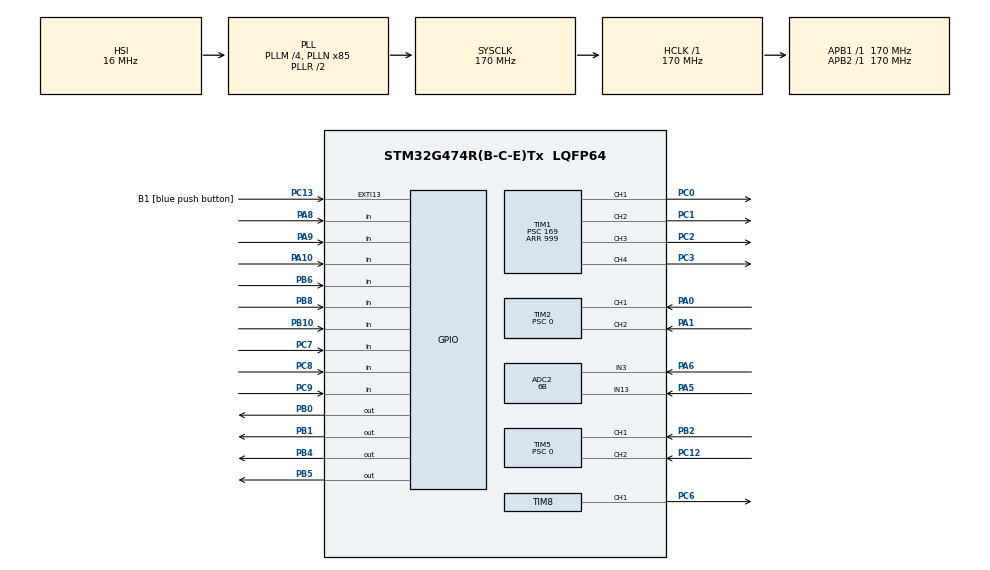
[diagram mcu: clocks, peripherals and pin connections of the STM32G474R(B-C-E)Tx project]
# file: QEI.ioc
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ADC2.Channel-0\#ChannelRegularConversion=ADC_CHANNEL_3
ADC2.Channel-1\#ChannelRegularConversion=ADC_CHANNEL_13
ADC2.ContinuousConvMode=ENABLE
ADC2.DMAContinuousRequests=ENABLE
ADC2.NbrOfConversion=2
ADC2.NbrOfConversionFlag=1
ADC2.OffsetNumber-0\#ChannelRegularConversion=ADC_OFFSET_NONE
ADC2.OffsetNumber-1\#ChannelRegularConversion=ADC_OFFSET_NONE
ADC2.Rank-0\#ChannelRegularConversion=1
ADC2.Rank-1\#ChannelRegularConversion=2
ADC2.Resolution=ADC_RESOLUTION_6B
ADC2.SamplingTime-0\#ChannelRegularConversion=ADC_SAMPLETIME_640CYCLES_5
ADC2.SamplingTime-1\#ChannelRegularConversion=ADC_SAMPLETIME_640CYCLES_5
ARM.CMSIS-DSP.1.15.0.CMSISJjDSP=Source
ARM.CMSIS.6.0.0.CMSISJjCORE=true
Dma.ADC2.0.Direction=DMA_PERIPH_TO_MEMORY
Dma.ADC2.0.EventEnable=DISABLE
Dma.ADC2.0.Instance=DMA1_Channel1
Dma.ADC2.0.MemDataAlignment=DMA_MDATAALIGN_WORD
Dma.ADC2.0.MemInc=DMA_MINC_ENABLE
Dma.ADC2.0.Mode=DMA_CIRCULAR
Dma.ADC2.0.PeriphDataAlignment=DMA_PDATAALIGN_WORD
Dma.ADC2.0.PeriphInc=DMA_PINC_DISABLE
Dma.ADC2.0.Polarity=HAL_DMAMUX_REQ_GEN_RISING
Dma.ADC2.0.Priority=DMA_PRIORITY_LOW
Dma.ADC2.0.RequestNumber=1
Dma.ADC2.0.SignalID=NONE
Dma.ADC2.0.SyncEnable=DISABLE
Dma.ADC2.0.SyncPolarity=HAL_DMAMUX_SYNC_NO_EVENT
Dma.ADC2.0.SyncRequestNumber=1
Dma.ADC2.0.SyncSignalID=NONE
Dma.Request0=ADC2
Mcu.Family=STM32G4
Mcu.Name=STM32G474R(B-C-E)Tx
Mcu.Package=LQFP64
NVIC.DMA1_Channel1_IRQn=true\:0\:0\:false\:false\:true\:false\:true\:true
NVIC.EXTI15_10_IRQn=true\:0\:0\:false\:false\:true\:true\:true\:true
NVIC.PriorityGroup=NVIC_PRIORITYGROUP_4
NVIC.TIM1_BRK_TIM15_IRQn=true\:0\:0\:false\:false\:true\:true\:true\:true
NVIC.TIM1_CC_IRQn=true\:0\:0\:false\:false\:true\:true\:true\:true
NVIC.TIM1_TRG_COM_TIM17_IRQn=true\:0\:0\:false\:false\:true\:true\:true\:true
NVIC.TIM1_UP_TIM16_IRQn=true\:0\:0\:false\:false\:true\:true\:true\:true
NVIC.TIM2_IRQn=true\:0\:0\:false\:false\:true\:true\:true\:true
NVIC.TIM3_IRQn=true\:0\:0\:false\:false\:true\:true\:true\:true
NVIC.TIM4_IRQn=true\:0\:0\:false\:false\:true\:true\:true\:true
NVIC.TIM5_IRQn=true\:0\:0\:false\:false\:true\:true\:true\:true
NVIC.TIM6_DAC_IRQn=true\:0\:0\:false\:false\:true\:true\:true\:true
PA0.Signal=S_TIM2_CH1
PA1.Signal=S_TIM2_CH2
PA10.GPIO_PuPd=GPIO_PULLUP
PA10.Signal=GPIO_Input
PA13.GPIO_Label=T_SWDIO
PA13.Signal=SYS_JTMS-SWDIO
PA14.GPIO_Label=T_SWCLK
PA14.Signal=SYS_JTCK-SWCLK
PA2.GPIO_Label=LPUART1_TX [STLINKV3E_VCP_RX]
PA2.Signal=LPUART1_TX
PA3.GPIO_Label=LPUART1_RX [STLINKV3E_VCP_TX]
PA3.Signal=LPUART1_RX
PA5.Mode=IN13-Single-Ended
PA5.Signal=ADC2_IN13
PA6.Mode=IN3-Single-Ended
PA6.Signal=ADC2_IN3
PA7.Signal=S_TIM3_CH2
PA8.GPIO_PuPd=GPIO_PULLUP
PA8.Signal=GPIO_Input
PA9.Signal=GPIO_Input
PB0.Signal=GPIO_Output
PB1.Signal=GPIO_Output
PB10.GPIO_PuPd=GPIO_PULLUP
PB10.Signal=GPIO_Input
PB2.Signal=S_TIM5_CH1
PB3.GPIO_Label=T_SWO
PB3.Signal=SYS_JTDO-SWO
PB4.Signal=GPIO_Output
PB5.Signal=GPIO_Output
PB6.Signal=GPIO_Input
PB8-BOOT0.GPIO_PuPd=GPIO_PULLUP
PB8-BOOT0.Signal=GPIO_Input
PC0.Signal=S_TIM1_CH1
PC1.Signal=S_TIM1_CH2
PC12.Signal=S_TIM5_CH2
PC13.GPIO_Label=B1 [blue push button]
PC13.Signal=GPXTI13
PC14-OSC32_IN.GPIO_Label=RCC_OSC32_IN
PC14-OSC32_IN.Signal=RCC_OSC32_IN
PC15-OSC32_OUT.GPIO_Label=RCC_OSC32_OUT
PC15-OSC32_OUT.Signal=RCC_OSC32_OUT
PC2.Signal=S_TIM1_CH3
PC3.Signal=S_TIM1_CH4
PC6.Signal=S_TIM8_CH1
PC7.Signal=GPIO_Input
PC8.GPIO_PuPd=GPIO_PULLUP
PC8.Signal=GPIO_Input
PC9.GPIO_PuPd=GPIO_PULLUP
PC9.Signal=GPIO_Input
PF0-OSC_IN.GPIO_Label=RCC_OSC_IN
PF0-OSC_IN.Signal=RCC_OSC_IN
PF1-OSC_OUT.GPIO_Label=RCC_OSC_OUT
PF1-OSC_OUT.Signal=RCC_OSC_OUT
ProjectManager.HeapSize=0x200
ProjectManager.StackSize=0x400
ProjectManager.TargetToolchain=STM32CubeIDE
RCC.ADC12Freq_Value=170000000
RCC.ADC345Freq_Value=170000000
RCC.AHBFreq_Value=170000000
RCC.APB1Freq_Value=170000000
RCC.APB1TimFreq_Value=170000000
RCC.APB2Freq_Value=170000000
RCC.APB2TimFreq_Value=170000000
RCC.CortexFreq_Value=170000000
RCC.EXTERNAL_CLOCK_VALUE=12288000
RCC.HCLKFreq_Value=170000000
RCC.HSE_VALUE=24000000
RCC.HSI48_VALUE=48000000
RCC.HSI_VALUE=16000000
RCC.LSE_VALUE=32768
RCC.PLLM=RCC_PLLM_DIV4
RCC.PLLN=85
RCC.RTCClockSelection=RCC_RTCCLKSOURCE_LSE
RCC.SYSCLKFreq_VALUE=170000000
RCC.SYSCLKSource=RCC_SYSCLKSOURCE_PLLCLK
RCC.USBFreq_Value=170000000
RCC.VCOOutputFreq_Value=340000000
SH.S_TIM1_CH1.0=TIM1_CH1,PWM Generation1 CH1
SH.S_TIM1_CH2.0=TIM1_CH2,PWM Generation2 CH2
SH.S_TIM1_CH3.0=TIM1_CH3,PWM Generation3 CH3
SH.S_TIM1_CH4.0=TIM1_CH4,PWM Generation4 CH4
SH.S_TIM2_CH1.0=TIM2_CH1,Encoder_Interface
SH.S_TIM2_CH2.0=TIM2_CH2,Encoder_Interface
SH.S_TIM3_CH2.0=TIM3_CH2
SH.S_TIM5_CH1.0=TIM5_CH1,Encoder_Interface
SH.S_TIM5_CH2.0=TIM5_CH2,Encoder_Interface
SH.S_TIM8_CH1.0=TIM8_CH1,PWM Generation1 CH1
TIM1.Channel-PWM\ Generation1\ CH1=TIM_CHANNEL_1
TIM1.Channel-PWM\ Generation2\ CH2=TIM_CHANNEL_2
TIM1.Channel-PWM\ Generation3\ CH3=TIM_CHANNEL_3
TIM1.Channel-PWM\ Generation4\ CH4=TIM_CHANNEL_4
TIM1.PeriodNoDither=999
TIM1.Prescaler=169
TIM2.EncoderMode=TIM_ENCODERMODE_TI12
TIM2.PeriodNoDither=4294967295
TIM2.Prescaler=0
TIM3.Prescaler=169
TIM4.PeriodNoDither=9999
TIM4.Prescaler=169
TIM4.TIM_MasterOutputTrigger=TIM_TRGO_UPDATE
TIM5.EncoderMode=TIM_ENCODERMODE_TI12
TIM5.PeriodNoDither=4294967295
TIM5.Prescaler=0
TIM6.PeriodNoDither=1999
TIM6.Prescaler=169
TIM8.Channel-PWM\ Generation1\ CH1=TIM_CHANNEL_1
TIM8.PeriodNoDither=19999
TIM8.Prescaler=169
TIM8.PulseNoDither_1=0
VP_ARM.CMSIS-DSP_VS_CMSISJjDSP_1.15.0_1.15.0.Mode=CMSISJjDSP
VP_ARM.CMSIS_VS_CMSISJjCORE_6.0.0_6.0.0.Mode=CMSISJjCORE
VP_SYS_VS_DBSignals.Mode=DisableDeadBatterySignals
VP_TIM1_VS_ClockSourceINT.Mode=Internal
VP_TIM3_VS_ClockSourceINT.Mode=Internal
VP_TIM4_VS_ClockSourceINT.Mode=Internal
VP_TIM6_VS_ClockSourceINT.Mode=Enable_Timer
VP_TIM8_VS_ClockSourceINT.Mode=Internal
board=NUCLEO-G474RE

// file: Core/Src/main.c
/* USER CODE BEGIN Header */
/**
 ******************************************************************************
 * @file           : main.c
 * @brief          : Main program body
 ******************************************************************************
 * @attention
 *
 * Copyright (c) 2025 STMicroelectronics.
 * All rights reserved.
 *
 * This software is licensed under terms that can be found in the LICENSE file
 * in the root directory of this software component.
 * If no LICENSE file comes with this software, it is provided AS-IS.
 *
 ******************************************************************************
 */
/* USER CODE END Header */
#include "main.h"
#include "adc.h"
#include "dma.h"
#include "tim.h"
#include "gpio.h"

/* USER CODE BEGIN Includes */
#include "arm_math.h"
#include "math.h"
#include "stdio.h"
#include "velocity_control.h"
#include "MotorDriver.h"
#include "Encoder.h"
#include "pid.h"
#include "TrajectoryGenerator.h"
#include "kalman_filter.h"
#include "kalman_prs.h"
#include "feedforward.h"
#include "waypoints.h"

#include "VelocityFormPID.h"

#include <stdbool.h>
#include <stdlib.h>
/* USER CODE END Includes */

/* USER CODE BEGIN PD */
#define EPSILON 0.0001
#define RAD2TICKS (8192.0f / (2.0f * M_PI))
#define PRISMATIC_RESET_BUTTON HAL_GPIO_ReadPin(GPIOC, GPIO_PIN_8)
#define REVOLUTE_RESET_BUTTON HAL_GPIO_ReadPin(GPIOA, GPIO_PIN_10)
#define JOY_MEM_JOG_BUTTON HAL_GPIO_ReadPin(GPIOA, GPIO_PIN_7)
#define JOY_RESET_BUTTON HAL_GPIO_ReadPin(GPIOB, GPIO_PIN_6)
#define JOY_RUN_JOG_BUTTON HAL_GPIO_ReadPin(GPIOC, GPIO_PIN_7)
#define JOY_ADD_VELO_BUTTON HAL_GPIO_ReadPin(GPIOA, GPIO_PIN_9)

#define EMERGENCY_BUTTON HAL_GPIO_ReadPin(GPIOA, GPIO_PIN_8)
//#define SERVO HAL_GPIO_WritePin(GPIOC, GPIO_PIN_6)

/* USER CODE END PD */

/* USER CODE BEGIN PV */

int EMERGENCY_STATE = 0;

int ok =0;

typedef struct{
	uint8_t reset;

	float prev_set_pos;
	float prev_set_velo;

	float set_pos;
	float set_velo;
	float prev_setpos;

	//control variable
	float Pwm;
	float Vin;

	float pos_error;
	float velo_error;

	float disturbance;
	VelocityFormPIDHandler pos_PID;
	VelocityFormPIDHandler velo_PID;

	MOTOR motor;
	ENCODER encoder;

}RevoluteControlTypeHandler;

typedef struct{
	uint8_t reset;
	uint8_t reset_param;

	float prev_set_pos;
	float prev_set_velo;
	float prev_set_dis;

	float set_pos;
	float set_velo;
	float set_dis;
	float prev_setpos;

	//control variable
	float Pwm;
	float Vin;

	float pos_error;
	float dis_error;
	float velo_error;

	float disturbance;
	VelocityFormPIDHandler pos_PID;
	VelocityFormPIDHandler velo_PID;

	MOTOR motor;
	ENCODER encoder;
}PrismaticControlTypeHandler;

RevoluteControlTypeHandler Revolute = {0};
PrismaticControlTypeHandler Prismatic = {0};

SERVO Servo = {0};
float Volt = 0.0;

int servo_command = 0;

int32_t joy_analog[2];
int check = 0;
int joy_mid_pris = 0;
int joy_mid_rev = 0;

int Emergency= 0 ;
int Reset_button = 0;

int green_light=0;
int red_light=0;

int servo_check1=1;
int servo_check2=1;

int servo_PWM;
int state = 0;

kalman k_rev;
kalman_prs k_pris;

float Rev_Dis;
float Pris_Dis;

float rev_pos_error = 0;
float rev_vel_error = 0;

int count = 0;

float test = 0;

float velocity = 0;
float setvelocity = 0;
float test_speed = 0;
float direction = 1;

uint8_t Pris_reset;

uint64_t _micros = 0;

Trajectory rev_traj = {0};
Trajectory pris_traj = {0};

uint8_t reset_stage = 0;
uint32_t reset_timer = 0;

uint32_t reset_done_time = 0;
uint8_t waiting_after_reset = 0;

float JOY_PRISMATIC[2] = {0.0, 0.0};
float JOY_REVOLUTE[2] = {0.0, 0.0};

// Array to store G-code commands
WAYPOINT gCode[MAX_WAYPOINT] = {
    {"G21", 0.0f, 0.0f, 0.0f, 0.0f},         // G21 - mm mode
    {"G0", 44.8466f, 148.7895f, 5.0f, 1000.0f}, // G0 - Lift pen, move to X44.8466 Y148.7895
    {"G0", 44.8466f, 148.7895f, 0.0f, 1000.0f}, // G0 - Activate Pen at Z0
    {"G1", 40.8713f, 148.7895f, 0.0f, 1000.0f}, // G1 - Drawing to X40.8713 Y148.7895
    {"G1", 40.3237f, 148.9217f, 0.0f, 1000.0f}, // G1 - Continue drawing
    {"G1", 39.9781f, 149.1881f, 0.0f, 1000.0f}, // G1
    {"G1", 39.7506f, 149.5604f, 0.0f, 1000.0f}, // G1
    {"G1", 39.6713f, 149.9895f, 0.0f, 1000.0f}, // G1
    {"G1", 39.6713f, 179.1677f, 0.0f, 1000.0f}, // G1
    {"G1", 39.8035f, 179.7153f, 0.0f, 1000.0f}, // G1
    {"G1", 40.0699f, 180.0609f, 0.0f, 1000.0f}, // G1
    {"G1", 40.4422f, 180.2884f, 0.0f, 1000.0f}, // G1
    {"G1", 40.8713f, 180.3677f, 0.0f, 1000.0f}, // G1
    {"G1", 56.4983f, 180.3677f, 0.0f, 1000.0f}, // G1
    {"G1", 56.9038f, 180.2971f, 0.0f, 1000.0f}, // G1
    {"G1", 57.2808f, 180.0775f, 0.0f, 1000.0f}, // G1
    {"G1", 57.5544f, 179.7375f, 0.0f, 1000.0f}, // G1
    {"G1", 57.6883f, 179.3222f, 0.0f, 1000.0f}, // G1
    {"G1", 58.0799f, 176.3065f, 0.0f, 1000.0f}, // G1
    {"G1", 58.0829f, 176.0225f, 0.0f, 1000.0f}, // G1
    {"G1", 57.9577f, 175.6044f, 0.0f, 1000.0f}, // G1
    {"G1", 57.6913f, 175.2588f, 0.0f, 1000.0f}, // G1
    {"G1", 57.3190f, 175.0313f, 0.0f, 1000.0f}, // G1
    {"G1", 56.8899f, 174.9520f, 0.0f, 1000.0f}, // G1
    {"G1", 46.0466f, 174.9520f, 0.0f, 1000.0f}, // G1
    {"G1", 46.0466f, 167.8348f, 0.0f, 1000.0f}, // G1
    {"G1", 55.1079f, 167.8348f, 0.0f, 1000.0f}, // G1
    {"G1", 55.6555f, 167.7026f, 0.0f, 1000.0f}, // G1
    {"G1", 56.0011f, 167.4362f, 0.0f, 1000.0f}, // G1
    {"G1", 56.2286f, 167.0639f, 0.0f, 1000.0f}, // G1
    {"G1", 56.3079f, 166.6348f, 0.0f, 1000.0f}, // G1
    {"G1", 56.3079f, 163.4624f, 0.0f, 1000.0f}, // G1
    {"G1", 56.1757f, 162.9148f, 0.0f, 1000.0f}, // G1
    {"G1", 55.9093f, 162.5692f, 0.0f, 1000.0f}, // G1
    {"G1", 55.5370f, 162.3417f, 0.0f, 1000.0f}, // G1
    {"G1", 55.1079f, 162.2624f, 0.0f, 1000.0f}, // G1
    {"G1", 46.0466f, 162.2624f, 0.0f, 1000.0f}, // G1
    {"G1", 46.0466f, 149.9895f, 0.0f, 1000.0f}, // G1
    {"G1", 45.9144f, 149.4419f, 0.0f, 1000.0f}, // G1
    {"G1", 45.6480f, 149.0963f, 0.0f, 1000.0f}, // G1
    {"G1", 45.2757f, 148.8688f, 0.0f, 1000.0f}, // G1
    {"G1", 44.8466f, 148.7895f, 0.0f, 1000.0f}, // G1
    {"G0", 0.0f, 0.0f, 5.0f, 0.0f}             // G0 - Lift pen to z-safe
};
int num_points = 38;
int count_now = 1;
int count_prev = 0;
int draw_command = 0;

//typedef enum {
//	DRAW_DONE, DRAWING
//}DRAW_STATE;
int DRAW_STATE = 0;

/* USER CODE END PV */

void SystemClock_Config(void);
/* USER CODE BEGIN PFP */
void reset_prismatic();
void reset_revolute();
void reset_pris();
void reset_rev();
void calculateWaypoints();
/* USER CODE END PFP */

int main(void)
{

  /* MCU Configuration--------------------------------------------------------*/

  /* Reset of all peripherals, Initializes the Flash interface and the Systick. */
  HAL_Init();

  /* Configure the system clock */
  SystemClock_Config();

  /* Initialize all configured peripherals */
  MX_GPIO_Init();
  MX_DMA_Init();
  MX_TIM3_Init();
  MX_TIM5_Init();
  MX_TIM1_Init();
  MX_TIM2_Init();
  MX_TIM4_Init();
  MX_TIM6_Init();
  MX_TIM8_Init();
  MX_ADC2_Init();
  /* USER CODE BEGIN 2 */
  HAL_ADCEx_Calibration_Start(&hadc2, ADC_SINGLE_ENDED);
  HAL_ADC_Start_DMA(&hadc2, joy_analog, 2);

  MotorDriver_Init(&Revolute.motor, &htim1, TIM_CHANNEL_1, TIM_CHANNEL_2);
  Encoder_Init(&Revolute.encoder, &htim5, 8192);
  InitializePositionFormPID(&Revolute.pos_PID, 5.0, 0.0001f, 1.0f, 0.01, 3.8);
  InitializeVelocityFormPID(&Revolute.velo_PID, 1.0, 10.0f, 0.0f, 0.001, 12);

  MotorDriver_Init(&Prismatic.motor, &htim1, TIM_CHANNEL_3, TIM_CHANNEL_4);
  Encoder_Init(&Prismatic.encoder, &htim2, 8192);
  InitializePositionFormPID(&Prismatic.pos_PID, 30.0f, 0.05, 0.1f, 0.01, 40);
  InitializeVelocityFormPID(&Prismatic.velo_PID, 0.01f, 0.9f, 0.0f, 0.001, 12);

//  ServoDriver_Init(&Servo, &htim8, TIM_CHANNEL_1);
  HAL_TIM_Base_Start(&htim8);
  HAL_TIM_PWM_Start(&htim8, TIM_CHANNEL_1);

  Kalman_Init(&k_rev);
  Kalman_Init_prs(&k_pris);

	HAL_TIM_Base_Start_IT(&htim2);
	HAL_TIM_Base_Start_IT(&htim3);
	HAL_TIM_Base_Start_IT(&htim4);
	HAL_TIM_Base_Start_IT(&htim6);

	HAL_GPIO_WritePin(GPIOB, GPIO_PIN_0, 1);
	HAL_GPIO_WritePin(GPIOB, GPIO_PIN_1, 1);

	rev_traj.desire_av = 3.0;
	rev_traj.desire_ac = 1.5;
	rev_traj.active = 0;

	pris_traj.desire_av = 3.0;
	pris_traj.desire_ac = 1.5;
	pris_traj.active = 0;

	HAL_Delay(100);
	joy_mid_rev = joy_analog[0];
	joy_mid_pris = joy_analog[1];
  /* USER CODE END 2 */

  /* Infinite loop */
while (1) {

    /* USER CODE BEGIN 3 */

		if (JOY_MEM_JOG_BUTTON == 1) {state = 1;}
		if (JOY_RESET_BUTTON == 1) {state = 2; }
		if (JOY_RUN_JOG_BUTTON == 1) {state = 3;}
		if (JOY_ADD_VELO_BUTTON == 1) {state = 4;}

		JOY_PRISMATIC[0] = ((float)(joy_analog[1]-joy_mid_pris)/(joy_mid_pris+35))*200.0;

		JOY_REVOLUTE[0] = (joy_analog[0]-joy_mid_rev)/63.0*200.0;

//		if (servo_command == 1) {
//			__HAL_TIM_SET_COMPARE(&htim8, TIM_CHANNEL_1, Volt); //in
//		}
//
//		count = EMERGENCY_BUTTON;
		if (EMERGENCY_STATE == 0 && EMERGENCY_BUTTON) {
			HAL_GPIO_WritePin(GPIOB, GPIO_PIN_5, 0);
			EMERGENCY_STATE = 1;
		}
		else if (EMERGENCY_STATE = 1 && !EMERGENCY_BUTTON) {
			Prismatic.reset = 1;
			EMERGENCY_STATE = 2;
		}
		else {
			HAL_GPIO_WritePin(GPIOB, GPIO_PIN_5, 1);
			HAL_GPIO_WritePin(GPIOB, GPIO_PIN_4, 0);
		}

}

  /* USER CODE END 3 */
}

void SystemClock_Config(void)
{
  RCC_OscInitTypeDef RCC_OscInitStruct = {0};
  RCC_ClkInitTypeDef RCC_ClkInitStruct = {0};

  /** Configure the main internal regulator output voltage
  */
  HAL_PWREx_ControlVoltageScaling(PWR_REGULATOR_VOLTAGE_SCALE1_BOOST);

  /** Initializes the RCC Oscillators according to the specified parameters
  * in the RCC_OscInitTypeDef structure.
  */
  RCC_OscInitStruct.OscillatorType = RCC_OSCILLATORTYPE_HSI;
  RCC_OscInitStruct.HSIState = RCC_HSI_ON;
  RCC_OscInitStruct.HSICalibrationValue = RCC_HSICALIBRATION_DEFAULT;
  RCC_OscInitStruct.PLL.PLLState = RCC_PLL_ON;
  RCC_OscInitStruct.PLL.PLLSource = RCC_PLLSOURCE_HSI;
  RCC_OscInitStruct.PLL.PLLM = RCC_PLLM_DIV4;
  RCC_OscInitStruct.PLL.PLLN = 85;
  RCC_OscInitStruct.PLL.PLLP = RCC_PLLP_DIV2;
  RCC_OscInitStruct.PLL.PLLQ = RCC_PLLQ_DIV2;
  RCC_OscInitStruct.PLL.PLLR = RCC_PLLR_DIV2;
  if (HAL_RCC_OscConfig(&RCC_OscInitStruct) != HAL_OK)
  {
    Error_Handler();
  }

  /** Initializes the CPU, AHB and APB buses clocks
  */
  RCC_ClkInitStruct.ClockType = RCC_CLOCKTYPE_HCLK|RCC_CLOCKTYPE_SYSCLK
                              |RCC_CLOCKTYPE_PCLK1|RCC_CLOCKTYPE_PCLK2;
  RCC_ClkInitStruct.SYSCLKSource = RCC_SYSCLKSOURCE_PLLCLK;
  RCC_ClkInitStruct.AHBCLKDivider = RCC_SYSCLK_DIV1;
  RCC_ClkInitStruct.APB1CLKDivider = RCC_HCLK_DIV1;
  RCC_ClkInitStruct.APB2CLKDivider = RCC_HCLK_DIV1;

  if (HAL_RCC_ClockConfig(&RCC_ClkInitStruct, FLASH_LATENCY_4) != HAL_OK)
  {
    Error_Handler();
  }
}

/* USER CODE BEGIN 4 */
void HAL_TIM_PeriodElapsedCallback(TIM_HandleTypeDef *htim) {
	if (htim == &htim3) {
		_micros += UINT16_MAX;
	}

	if (htim == &htim6) { // 1000 Hz - Velocity loop (inner)

		if ((Prismatic.reset == 1 || Prismatic.reset == 3) && !waiting_after_reset) {
			if (HAL_GPIO_ReadPin(GPIOC, GPIO_PIN_8) != 0) {
				MotorDriver_Set(&Prismatic.motor, -225);
				reset_pris();
				reset_rev();
			} else {
				MotorDriver_Set(&Prismatic.motor, 0);
				Encoder_Reset(&Prismatic.encoder);

				Prismatic.pos_error = 0;
				if(Prismatic.reset == 1){
					Prismatic.reset = 2;
				}
				else{
					waiting_after_reset = 1;
					reset_done_time = HAL_GetTick();
					Prismatic.reset = 0;
				}
				// Start 1-second wait
				return;
			}
		}

		if (Prismatic.reset == 2 && !waiting_after_reset) {
			if (HAL_GPIO_ReadPin(GPIOA, GPIO_PIN_10) != 0) {
				MotorDriver_Set(&Revolute.motor, -150);
				reset_pris();
				reset_rev();
			} else {
				MotorDriver_Set(&Revolute.motor, 0);
				Encoder_Reset(&Revolute.encoder);
				Revolute.pos_error = 0;
//				Revolute.reset = 0;
				Prismatic.reset = 3;
				return;
			}
		}

		// Wait 1 second after reset before continuing
		if (waiting_after_reset) {
			if (HAL_GetTick() - reset_done_time < 2000) {
				Encoder_Reset(&Prismatic.encoder);
				reset_pris();
				reset_rev();
				return;
			}
			HAL_TIM_Encoder_Start(Prismatic.encoder.htim, TIM_CHANNEL_ALL);
			HAL_TIM_Encoder_Start(Revolute.encoder.htim, TIM_CHANNEL_ALL);
			waiting_after_reset = 0;  // Done waiting, resume control
		}

		if (Prismatic.reset != 0) return; // Skip position loop while resetting

		Encoder_Compute(&Revolute.encoder);
		Encoder_Compute(&Prismatic.encoder);

		Kalman_Filter(&k_rev,Revolute.Vin, Revolute.encoder.rad);
		Kalman_Filter_prs(&k_pris,Prismatic.Vin, Prismatic.encoder.rad);
		//=============================================================================

		//=============================================================================

		ComputeVelocityFormPID_C(&Prismatic.velo_PID, Prismatic.velo_error, k_pris.omega_kalman_prs);
		ComputeVelocityFormPID_C(&Revolute.velo_PID, Revolute.velo_error, k_rev.omega_kalman);
		Prismatic.Vin = (Prismatic.velo_PID.output[Current] + Prismatic.disturbance);
		Revolute.Vin = (Revolute.velo_PID.output[Current] + Revolute.disturbance);
		if(Prismatic.Vin > 12){ Prismatic.Vin = 12; }
		else if(Prismatic.Vin < -12){ Prismatic.Vin = -12; }

		if(Revolute.Vin > 12){ Revolute.Vin = 12; }
		else if(Revolute.Vin < -12){ Revolute.Vin = -12; }
		Prismatic.Pwm = Prismatic.Vin * 999 / 12;
		Revolute.Pwm = Revolute.Vin * 999 / 12;
		if (fabs(Prismatic.dis_error) < 0.1f && !pris_traj.active) {
			Prismatic.Pwm = 0;
			ResetPositionFormPID(&Prismatic.pos_PID);
			ResetVelocityFormPID(&Prismatic.velo_PID);
		}
		MotorDriver_Set(&Prismatic.motor, Prismatic.Pwm);
	//		}
			//-------------------------------------------------------------------------

		if (fabs(Revolute.pos_error) < 0.01f && !rev_traj.active) {
			Revolute.Pwm = 0;
			ResetPositionFormPID(&Revolute.pos_PID);
			ResetVelocityFormPID(&Revolute.velo_PID);
		}
		MotorDriver_Set(&Revolute.motor, Revolute.Pwm);

	}

	if (htim == &htim4) { // 100 Hz - Position loop (outer)
//		/*Trajectory generate phase*/
		//----------------------------------------------------------------------------------

		if (Prismatic.reset != 0) return;

//		if(ok==1){
//			Revolute.set_pos=3.14;
//			Prismatic.prev_set_dis=0;
//			Prismatic.set_pos = 2.0 * M_PI * Prismatic.set_dis / 40.0 + Revolute.set_pos;
//			ok=0;
//		}
//		if (draw_command && DRAW_STATE == 0) {
//			calculateWaypoints();
//		}
		Prismatic.set_pos = 2.0 * M_PI * Prismatic.set_dis / 40.0 + Revolute.set_pos;
		//=========================================================

			if (fabs(Revolute.set_pos - Revolute.prev_set_pos) > EPSILON) {
				Revolute.prev_set_pos = Revolute.set_pos;
				float init_rad_rev = (float)(Revolute.encoder.rad);
				init_trapezoidal(&rev_traj, init_rad_rev, Revolute.set_pos);
				rev_traj.active = 1;
			}
			if (fabs(Prismatic.set_pos - Prismatic.prev_set_pos) > EPSILON) {
				Prismatic.prev_set_pos = Prismatic.set_pos ;
				float init_rad_prs = (float)(Prismatic.encoder.rad);
				init_trapezoidal(&pris_traj, init_rad_prs, Prismatic.set_pos);
				pris_traj.active = 1;
			}
			//----------------------------------------------------------------------------------
			if(rev_traj.active && rev_traj.t_s <= rev_traj.t_f){
				generate_trapezoidal(&rev_traj);
			}else{
				rev_traj.active = 0;
			}

			if(pris_traj.active && pris_traj.t_s <= pris_traj.t_f){
				generate_trapezoidal(&pris_traj);
			}else{
				pris_traj.active = 0;

			}

		//=========================================================
		/*Position Control phase*/

		Revolute.pos_error = rev_traj.ang_pos - k_rev.theta_kalman;
		Prismatic.pos_error = pris_traj.ang_pos - k_pris.theta_kalman_prs;

		Prismatic.dis_error = Prismatic.pos_error * 6.0f;

		ComputePositionFormPID(&Revolute.pos_PID, Revolute.pos_error, k_rev.theta_kalman, 100);
		ComputePositionFormPID(&Prismatic.pos_PID, Prismatic.pos_error, k_pris.theta_kalman_prs, 100);

		Revolute.velo_error = Revolute.pos_PID.output[Current] + rev_traj.ang_velo - k_rev.omega_kalman;
		Prismatic.velo_error = Prismatic.pos_PID.output[Current] + pris_traj.ang_velo - k_pris.omega_kalman_prs;

		Revolute.disturbance = Rev_dis(Revolute.encoder.rad, Prismatic.encoder.rad, -1);
		Prismatic.disturbance = 0;

//		if (fabs(Prismatic.dis_error) < 0.1f && !pris_traj.active
//				&& fabs(Revolute.pos_error) < 0.01f && !rev_traj.active && draw_command) {
//		 count_prev = count_now;
//		 count_now++;
//		 DRAW_STATE = 0;
//	   }
	}

}

uint64_t micros() {
	return __HAL_TIM_GET_COUNTER(&htim3) + _micros;
}

void calculateWaypoints() {
    if (count_prev < num_points && DRAW_STATE == 0) {
		WAYPOINT start = gCode[count_prev];
		WAYPOINT end = gCode[count_now];

		float delta_x = end.x - start.x;
		float delta_y = end.y - start.y;
		float distance = sqrt((delta_x * delta_x) + (delta_y * delta_y)); // Euclidean distance
		float heading = atan2(delta_y, delta_x);  // Angle to move towards the next point
//		float time_to_move = distance / 3.0f;  // 40 is max speed for now

		Prismatic.set_dis = distance;  // Move prismatic along X
		Revolute.set_pos = heading;    // Move the revolute joint to the calculated heading
		DRAW_STATE = 1;
//        }
//        count_prev = count_now;
    	}
//    else if (DRAW_STATE == 1) {
//
//		 if (fabs(Prismatic.set_pos-pris_traj.ang_pos) < EPSILON && fabs(Revolute.set_pos-rev_traj.ang_pos) < EPSILON) {
//			 count_prev = count_now;
//			 count_now++;
//			 DRAW_STATE = 0;
//		   }
//		}

    else if (count_prev >= num_points) {draw_command = 0;}

}

void reset_pris() {
    Prismatic.set_dis = 0.0f;
    Prismatic.set_pos = 0.0f;
    Prismatic.prev_set_dis = 0.0f;
    Prismatic.prev_set_pos = 0.0f;
    Prismatic.Pwm = 0.0f;
    Prismatic.Vin = 0.0f;
    Prismatic.velo_error = 0.0f;
    Prismatic.pos_error = 0.0f;

    ResetPositionFormPID(&Prismatic.pos_PID);
    ResetVelocityFormPID(&Prismatic.velo_PID);
    init_trapezoidal(&pris_traj, 0.0f, 0.0f);

//    Kalman_Init(&k_rev);
//    Kalman_Init_prs(&k_pris);
    k_pris.current_kalman_prs = 0.0f;
    k_pris.omega_kalman_prs = 0.0f;
    k_pris.theta_kalman_prs = 0.0f;
    k_pris.torque_kalman_prs = 0.0f;

    Kalman_Filter_prs(&k_pris,Prismatic.Vin, Prismatic.encoder.rad);
}

void reset_rev() {
	Revolute.set_pos = 0.0f;
	Revolute.prev_set_pos = 0.0f;
	Revolute.Pwm = 0.0f;
	Revolute.Vin = 0.0f;
	Revolute.velo_error = 0.0f;
	Revolute.pos_error = 0.0f;

    ResetPositionFormPID(&Revolute.pos_PID);
    ResetVelocityFormPID(&Revolute.velo_PID);
    init_trapezoidal(&rev_traj, 0.0f, 0.0f);

//    Kalman_Init(&k_rev);
//    Kalman_Init_prs(&k_pris);

    k_rev.theta_kalman = 0.0f;
	k_rev.omega_kalman = 0.0f;
    k_rev.torque_kalman = 0.0f;
    k_rev.current_kalman = 0.0f;
    k_rev.theta_kalman_prev = 0.0f;

    Kalman_Filter(&k_rev,Revolute.Vin, Revolute.encoder.rad);
}

/* USER CODE END 4 */

void Error_Handler(void)
{
	__disable_irq();
	while (1) {
	}
}
